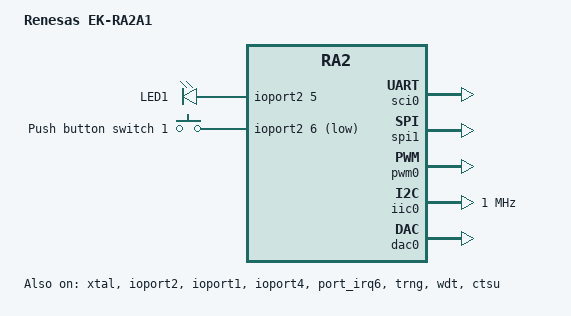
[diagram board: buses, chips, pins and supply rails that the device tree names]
/*
 * Copyright (c) 2024 TOKITA Hiroshi
 * SPDX-License-Identifier: Apache-2.0
 */

/dts-v1/;

#include <renesas/ra/ra2/r7fa2a1ab3cfm.dtsi>
#include <zephyr/dt-bindings/gpio/gpio.h>
#include <zephyr/dt-bindings/input/input-event-codes.h>

#include "ek_ra2a1-pinctrl.dtsi"

/ {
	model = "Renesas EK-RA2A1";
	compatible = "renesas,ra2a1", "renesas,ra2";

	chosen {
		zephyr,sram = &sram0;
		zephyr,flash = &flash0;
		zephyr,console = &uart0;
		zephyr,shell-uart = &uart0;
		zephyr,entropy = &trng;
	};

	leds {
		compatible = "gpio-leds";
		led1: led1 {
			gpios = <&ioport2 5 GPIO_ACTIVE_HIGH>;
			label = "LED1";
		};
	};

	buttons {
		compatible = "gpio-keys";
		button0: s1 {
			gpios = <&ioport2 6 (GPIO_PULL_UP | GPIO_ACTIVE_LOW)>;
			label = "Push button switch 1";
			zephyr,code = <INPUT_KEY_0>;
		};
	};

	aliases {
		led0 = &led1;
		sw0 = &button0;
		watchdog0 = &wdt;
	};
};

&xtal {
	clock-frequency = <DT_FREQ_M(12)>;
	mosel = <0>;
	#clock-cells = <0>;
	status = "okay";
};

&subclk {
	status = "okay";
};

&ioport2 {
	status = "okay";
};

&sci0 {
	pinctrl-0 = <&sci0_default>;
	pinctrl-names = "default";
	status = "okay";
	uart0: uart {
		current-speed = <115200>;
		status = "okay";
	};
};

&spi1 {
	pinctrl-0 = <&spi1_default>;
	pinctrl-names = "default";
	cs-gpios = <&ioport1 2 GPIO_ACTIVE_LOW>;
	status = "okay";
};

&ioport1 {
	status = "okay";
};

&ioport4 {
	status = "okay";
};

&port_irq6 {
	interrupts = <29 3>;
	status = "okay";
};

&pwm0 {
	pinctrl-0 = <&pwm0_default>;
	pinctrl-names = "default";
	interrupts = <28 1>, <31 1>;
	interrupt-names = "gtioca", "overflow";
	status = "okay";
};

&trng {
	status = "okay";
};

&iic0 {
	pinctrl-0 = <&iic0_default>;
	pinctrl-names = "default";
	#address-cells = <1>;
	#size-cells = <0>;
	clock-frequency = <DT_FREQ_M(1)>;
	interrupts = <0 1>, <1 1>, <2 1>, <3 1>;
	interrupt-names = "rxi", "txi", "tei", "eri";
	status = "okay";
};

&dac0 {
	pinctrl-0 = <&dac0_default>;
	pinctrl-names = "default";
	status = "okay";
};

&wdt {
	status = "okay";
};

&ctsu {
	pinctrl-0 = <&ctsu_default>;
	pinctrl-names = "default";
	interrupts = <10 3>, <11 3>, <12 3>;
	interrupt-names = "ctsuwr", "ctsurd", "ctsufn";
	clock-div = <1>;
	pwr-supply-sel = "vcc";
	atune1 = "normal";
	measure-mode = "self-multi-scan";
	tscap-gpios = <&ioport4 9 0>;
	status = "okay";

	group1 {
		ctsuchac = <0x00>, <0x80>, <0x00>, <0x00>, <0x00>;
		ctsuchtrc = <0x00>, <0x00>, <0x00>, <0x00>, <0x00>;
		rx-count = <1>;
		tx-count = <0>;
		ssdiv = "1.00";
		so = <0x108>;
		snum = <0x01>;
		sdpa = <0x0B>;
		on-freq = <3>;
		off-freq = <3>;
		drift-freq = <255>;
		cancel-freq = <0>;
		num-moving-avg = <4>;

		ts1: button1 {
			compatible = "renesas,ra-ctsu-button";
			event-code = <INPUT_KEY_1>;
			elements = <0>;
			threshold = <2305>;
			hysteresis = <115>;
		};
	};
};
